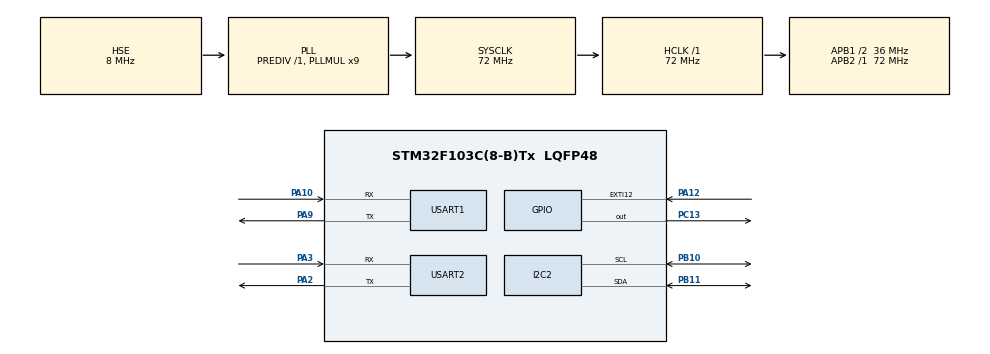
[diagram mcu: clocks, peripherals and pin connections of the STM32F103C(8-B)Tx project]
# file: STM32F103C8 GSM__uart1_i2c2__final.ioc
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Mcu.Family=STM32F1
Mcu.Name=STM32F103C(8-B)Tx
Mcu.Package=LQFP48
NVIC.EXTI15_10_IRQn=true\:0\:0\:false\:false\:true\:true\:true
NVIC.PriorityGroup=NVIC_PRIORITYGROUP_4
PA10.Mode=Asynchronous
PA10.Signal=USART1_RX
PA12.GPIO_PuPd=GPIO_NOPULL
PA12.Signal=GPXTI12
PA13.Mode=Serial_Wire
PA13.Signal=SYS_JTMS-SWDIO
PA14.Mode=Serial_Wire
PA14.Signal=SYS_JTCK-SWCLK
PA2.Mode=Asynchronous
PA2.Signal=USART2_TX
PA3.Mode=Asynchronous
PA3.Signal=USART2_RX
PA9.Mode=Asynchronous
PA9.Signal=USART1_TX
PB10.GPIO_Pu=GPIO_PULLUP
PB10.Mode=I2C
PB10.Signal=I2C2_SCL
PB11.GPIO_Pu=GPIO_PULLUP
PB11.Mode=I2C
PB11.Signal=I2C2_SDA
PC13-TAMPER-RTC.GPIO_PuPd=GPIO_PULLDOWN
PC13-TAMPER-RTC.Signal=GPIO_Output
PD0-OSC_IN.Mode=HSE-External-Oscillator
PD0-OSC_IN.Signal=RCC_OSC_IN
PD1-OSC_OUT.Mode=HSE-External-Oscillator
PD1-OSC_OUT.Signal=RCC_OSC_OUT
ProjectManager.HeapSize=0x200
ProjectManager.StackSize=0x400
ProjectManager.TargetToolchain=STM32CubeIDE
RCC.AHBFreq_Value=72000000
RCC.APB1CLKDivider=RCC_HCLK_DIV2
RCC.APB1Freq_Value=36000000
RCC.APB1TimFreq_Value=72000000
RCC.APB2Freq_Value=72000000
RCC.APB2TimFreq_Value=72000000
RCC.HCLKFreq_Value=72000000
RCC.PLLMUL=RCC_PLL_MUL9
RCC.PLLSourceVirtual=RCC_PLLSOURCE_HSE
RCC.SYSCLKFreq_VALUE=72000000
RCC.SYSCLKSource=RCC_SYSCLKSOURCE_PLLCLK
RCC.USBFreq_Value=72000000
USART1.VirtualMode=VM_ASYNC
USART2.VirtualMode=VM_ASYNC
VP_CRC_VS_CRC.Mode=CRC_Activate
board=custom

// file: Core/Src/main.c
/* USER CODE BEGIN Header */
/**
 ******************************************************************************
 * @file           : main.c
 * @brief          : Main program body
 ******************************************************************************
 * @attention
 *
 * <h2><center>&copy; Copyright (c) 2022 STMicroelectronics.
 * All rights reserved.</center></h2>
 *
 * This software component is licensed by ST under BSD 3-Clause license,
 * the "License"; You may not use this file except in compliance with the
 * License. You may obtain a copy of the License at:
 *                        opensource.org/licenses/BSD-3-Clause
 *
 ******************************************************************************
 */
/* USER CODE END Header */
#include "main.h"

uint8_t INTflag=0;

CRC_HandleTypeDef hcrc;

I2C_HandleTypeDef hi2c2;

UART_HandleTypeDef huart1;
UART_HandleTypeDef huart2;

void SystemClock_Config(void);
static void MX_GPIO_Init(void);
static void MX_CRC_Init(void);
static void MX_I2C2_Init(void);
static void MX_USART1_UART_Init(void);
static void MX_USART2_UART_Init(void);

int main(void)
{

	/* MCU Configuration--------------------------------------------------------*/

	/* Reset of all peripherals, Initializes the Flash interface and the Systick. */

	HAL_Init();

	/* Configure the system clock */
	SystemClock_Config();

	/* Initialize all configured peripherals */
	MX_GPIO_Init();
	MX_CRC_Init();
	MX_I2C2_Init();
	MX_USART1_UART_Init();
	MX_USART2_UART_Init();
	/* USER CODE BEGIN 2 */
	uint8_t data_packet[1031]={0};
	uint8_t data_array[1024]={0};
	uint32_t CRC_Value;
	uint8_t cmd_packet [6]={0};
	/* search file at server */

	uint32_t file_size;

	GSM_Get_File_From_Server();

	file_size= GSM_GET_FILE_SIZE();

	GSM_TO_STM_TO_EEPROM_FILE_SEND( file_size);

	/* transmitting the first packet (command Packet)*/

	cmd_packet[0]=5;
	cmd_packet[1]=0x31;
	for (uint32_t i=0;i<2;i++)
	{
		uint32_t i_data=cmd_packet[i];
		CRC_Value=HAL_CRC_Accumulate(&hcrc, &i_data, 1);

	}

	//first_packet=first_packet+2;
	uint8_t *ptr=cmd_packet;
	ptr+=2;
	*((uint32_t *)ptr) = CRC_Value;

	while(INTflag!=1)
	{

	}

	HAL_Delay(2000);
	HAL_UART_Transmit(&huart2, cmd_packet, sizeof(cmd_packet), HAL_MAX_DELAY);

	/* getting the data from the EEPROM and sending it to the other STM32*/

	uint8_t temp=ceil(file_size/1024.0);
	for(int counter=0;counter<temp;counter++)
	{
		for(int counter_1=0;counter_1<16;counter_1++)
		{

			HAL_I2C_Mem_Read(&hi2c2, 0XA0, 64*counter_1+counter*1024, 2, &data_array[64*counter_1], 64, 1000);
			HAL_Delay(10);
		}

		/* constructing the data packet to send it using UART2*/
		/* c means we send data array of 1024 */
		data_packet [0]='c';
		/* adjusting the flag*/
		if(counter==temp-1)
		{
			data_packet[1025]=1;
			for(uint16_t count=file_size-counter*1024;count<1024;count++)
			{
				data_array[count]=0xFF;
			}
		}
		else
		{
			data_packet[1025]=0;
		}
		/*getting the data array into the data packet*/
		for(int i=1;i<1025;i++)
		{
			data_packet[i]=data_array[i-1];
		}

		/* constructing the CRC */
		CRC_Value=0;
		for (uint32_t i=0;i<1026;i++)
		{
			uint32_t i_data=data_packet[i];
			CRC_Value=HAL_CRC_Accumulate(&hcrc, &i_data, 1);

		}

		//first_packet=first_packet+2;
		ptr=data_packet;
		ptr+=1026;
		*((uint32_t *)ptr)=CRC_Value;

		while(INTflag!=counter+2)
		{

		}

		HAL_Delay(200);
		HAL_UART_Transmit(&huart2, data_packet, sizeof(data_packet), HAL_MAX_DELAY);
		HAL_Delay(10);
	}

	/* USER CODE END 2 */

	/* Infinite loop */
	while (1)
	{

	}

}
void HAL_GPIO_EXTI_Callback(uint16_t GPIO_Pin)
{
	if(GPIO_Pin==GPIO_PIN_12)
	{
		INTflag++;
	}
}

void GSM_Get_File_From_Server()
{
	uint8_t cmd[70];
	sprintf(cmd,"AT+SAPBR=3,1,\"CONTYPE\",\"GPRS\"\n");
	HAL_UART_Transmit(&huart1,cmd, strlen(cmd), HAL_MAX_DELAY);
	HAL_Delay(200);
	sprintf(cmd,"AT+SAPBR=3,1,\"APN\",\"etisalat\"\n");
	HAL_UART_Transmit(&huart1,cmd, strlen(cmd), HAL_MAX_DELAY);
	HAL_Delay(200);
	sprintf(cmd,"AT+SAPBR=1,1\n");
	HAL_UART_Transmit(&huart1,cmd, strlen(cmd), HAL_MAX_DELAY);
	HAL_Delay(2000);
	sprintf(cmd,"AT+FTPSERV=\"199.102.48.28\"\n");
	HAL_UART_Transmit(&huart1,cmd, strlen(cmd), HAL_MAX_DELAY);
	HAL_Delay(2000);
	sprintf(cmd,"AT+FTPPORT=\"21\"\n");
	HAL_UART_Transmit(&huart1,cmd, strlen(cmd), HAL_MAX_DELAY);
	HAL_Delay(200);
	sprintf(cmd,"AT+FTPUN=\"fota22\"\n");
	HAL_UART_Transmit(&huart1,cmd, strlen(cmd), HAL_MAX_DELAY);
	HAL_Delay(200);
	sprintf(cmd,"AT+FTPPW=\"FOTA123456\"\n");
	HAL_UART_Transmit(&huart1,cmd, strlen(cmd), HAL_MAX_DELAY);
	/* name file */HAL_Delay(200);
	sprintf(cmd,"AT+FTPGETNAME=\"ss.bin\"\n");
	HAL_UART_Transmit(&huart1,cmd, strlen(cmd), HAL_MAX_DELAY);
	HAL_Delay(200);
	sprintf(cmd,"AT+FTPGETPATH=\"/\"\n");
	HAL_UART_Transmit(&huart1,cmd, strlen(cmd), HAL_MAX_DELAY);
	HAL_Delay(200);

	/* save file in GSM with name "file3.txt"*/
	sprintf(cmd,"AT+FTPGETTOFS=0,\"final.bin\"\n");
	HAL_UART_Transmit(&huart1,cmd, strlen(cmd), HAL_MAX_DELAY);
	HAL_Delay(40000);
	/*
	sprintf(cmd,"AT+SAPBR=0,1\n");
	HAL_UART_Transmit(&huart1,cmd, strlen(cmd), HAL_MAX_DELAY);
	HAL_Delay(200);
	 */
}
int GSM_GET_FILE_SIZE()
{
	/* this function use AT command of GSM to get the size of file */

	int file_size=0;

	char cmd[70];
	char cmd_rx[70];
	/* AT command to get file size */
	sprintf(cmd,"AT+FSFLSIZE=C:\\User\\FTP\\final.bin\n");
	HAL_UART_Transmit(&huart1,cmd, strlen(cmd), HAL_MAX_DELAY);
	/* Receiving the output of gsm to get the size of the file */
	HAL_UART_Receive(&huart1, cmd_rx, 70, 1000);
	/* define this counter to know the length of the file in digits */
	char counter_len=0;
	/* This loop is for counting the length and construct the array of the file size*/
	for (int i =47 ;i<70;i++)
	{
		counter_len++;
		cmd_rx[i-47]=cmd_rx[i];
		if(cmd_rx[i]=='\r')
		{
			cmd_rx[i]='\0';
			break;
		}

	}
	/* set the rest of the array to null to convert to it later into integer vlaue*/
	for (int i =counter_len;i<70;i++)
	{
		cmd_rx[i]='\0';
	}

	/* convert sting to char */
	file_size=atoi(cmd_rx);
	return file_size;
}
void GSM_TO_STM_TO_EEPROM_FILE_SEND(int file_size)
{

	int counter =0;

	for (int i=0;i<ceil((file_size/1024.0));i++)
	{
		/* this array just to save AT command */
		char cmd[70]={0};

		/* this array to save 1k byte of file data*/
		/*why we initialization here not above loop to make all elements zeros */
		/* at the begging of every iteration */
		char RX_arr[1070]={0};
		sprintf(cmd,"AT+FSREAD=C:\\User\\FTP\\file1.bin,1,1024,%d\n",i*1024);
		HAL_UART_Transmit(&huart1,cmd, strlen(cmd), HAL_MAX_DELAY);
		if(i==0)
		{
			HAL_UART_Receive(&huart1, RX_arr, 1070, 1000);
		}
		/* check RX_arr index 50 if it equal '\0' or not */
		/* from that we can know is file is received or not */
		/*we choose index 50 dependent on debug */

		while (RX_arr[50]=='\0')
		{
			HAL_UART_Receive(&huart1, RX_arr, 1070, 1000);
		}
		counter=0;

		/* to count how many element useless in RX_arr */
		for (int k =0;k<1070;k++)
		{
			counter++;
			if((RX_arr[k]=='\r')&&(RX_arr[k+1]=='\n'))
			{
				break;
			}

		}

		/* to adjust RX_arr and remove all external byte coming just from GSM */
		/* doesnot belong to file data */
		for (int l =0;l<1024;l++)
		{
			RX_arr[l]=RX_arr[counter+1+l];

		}

		/* this part for the last iteration in file */
		/* because the reminder of file not equal 1024 byte we do that  */

		if(i==file_size/1024)
		{
			/* to save element by element in RX_arr to send it */
			/*byte by byte */
			//char retr[2];
			/*last iteration */

			/*
			for (int j=0;j<file_size-i*1024;j++)
			{
				retr[0]=RX_arr[j];
				HAL_UART_Transmit(&huart1,retr, 1, 1000);
				HAL_Delay(1);
			}
			 */
			uint16_t Reminder=file_size-i*1024;

			for(int counter_1=0;counter_1<ceil(Reminder/64.0);counter_1++)
			{
				if(counter_1==ceil(Reminder/64.0)-1)
				{
					HAL_I2C_Mem_Write(&hi2c2, 0XA0, 64*counter_1+1024*i, 2, &RX_arr[64*counter_1], Reminder%64, 1000);
					HAL_Delay(10);
					break;
				}
				HAL_I2C_Mem_Write(&hi2c2, 0XA0, 64*counter_1+1024*i, 2, &RX_arr[64*counter_1], 64, 1000);
				HAL_Delay(10);
			}
			break;

		}

		/* send1k to eeprom */
		/* i2c will be used insted of usart  */
		//HAL_UART_Transmit(&huart1,RX_arr,1024, HAL_MAX_DELAY);

		/*  HAL_I2C_Mem_Write(I2C_HandleTypeDef *hi2c, uint16_t DevAddress, uint16_t MemAddress,
		 uint16_t MemAddSize, uint8_t *pData, uint16_t Size, uint32_t Timeout);
		 */
		for(int counter_1=0;counter_1<16;counter_1++)
		{

			HAL_I2C_Mem_Write(&hi2c2, 0XA0, 64*counter_1+1024*i, 2, &RX_arr[64*counter_1], 64, 1000);
			HAL_Delay(10);
		}

	}
}
void SystemClock_Config(void)
{
	RCC_OscInitTypeDef RCC_OscInitStruct = {0};
	RCC_ClkInitTypeDef RCC_ClkInitStruct = {0};

	/** Initializes the RCC Oscillators according to the specified parameters
	 * in the RCC_OscInitTypeDef structure.
	 */
	RCC_OscInitStruct.OscillatorType = RCC_OSCILLATORTYPE_HSE;
	RCC_OscInitStruct.HSEState = RCC_HSE_ON;
	RCC_OscInitStruct.HSEPredivValue = RCC_HSE_PREDIV_DIV1;
	RCC_OscInitStruct.HSIState = RCC_HSI_ON;
	RCC_OscInitStruct.PLL.PLLState = RCC_PLL_ON;
	RCC_OscInitStruct.PLL.PLLSource = RCC_PLLSOURCE_HSE;
	RCC_OscInitStruct.PLL.PLLMUL = RCC_PLL_MUL9;
	if (HAL_RCC_OscConfig(&RCC_OscInitStruct) != HAL_OK)
	{
		Error_Handler();
	}
	/** Initializes the CPU, AHB and APB buses clocks
	 */
	RCC_ClkInitStruct.ClockType = RCC_CLOCKTYPE_HCLK|RCC_CLOCKTYPE_SYSCLK
			|RCC_CLOCKTYPE_PCLK1|RCC_CLOCKTYPE_PCLK2;
	RCC_ClkInitStruct.SYSCLKSource = RCC_SYSCLKSOURCE_PLLCLK;
	RCC_ClkInitStruct.AHBCLKDivider = RCC_SYSCLK_DIV1;
	RCC_ClkInitStruct.APB1CLKDivider = RCC_HCLK_DIV2;
	RCC_ClkInitStruct.APB2CLKDivider = RCC_HCLK_DIV1;

	if (HAL_RCC_ClockConfig(&RCC_ClkInitStruct, FLASH_LATENCY_2) != HAL_OK)
	{
		Error_Handler();
	}
}

static void MX_CRC_Init(void)
{

	hcrc.Instance = CRC;
	if (HAL_CRC_Init(&hcrc) != HAL_OK)
	{
		Error_Handler();
	}

}

static void MX_I2C2_Init(void)
{

	hi2c2.Instance = I2C2;
	hi2c2.Init.ClockSpeed = 100000;
	hi2c2.Init.DutyCycle = I2C_DUTYCYCLE_2;
	hi2c2.Init.OwnAddress1 = 0;
	hi2c2.Init.AddressingMode = I2C_ADDRESSINGMODE_7BIT;
	hi2c2.Init.DualAddressMode = I2C_DUALADDRESS_DISABLE;
	hi2c2.Init.OwnAddress2 = 0;
	hi2c2.Init.GeneralCallMode = I2C_GENERALCALL_DISABLE;
	hi2c2.Init.NoStretchMode = I2C_NOSTRETCH_DISABLE;
	if (HAL_I2C_Init(&hi2c2) != HAL_OK)
	{
		Error_Handler();
	}

}

static void MX_USART1_UART_Init(void)
{

	huart1.Instance = USART1;
	huart1.Init.BaudRate = 115200;
	huart1.Init.WordLength = UART_WORDLENGTH_8B;
	huart1.Init.StopBits = UART_STOPBITS_1;
	huart1.Init.Parity = UART_PARITY_NONE;
	huart1.Init.Mode = UART_MODE_TX_RX;
	huart1.Init.HwFlowCtl = UART_HWCONTROL_NONE;
	huart1.Init.OverSampling = UART_OVERSAMPLING_16;
	if (HAL_UART_Init(&huart1) != HAL_OK)
	{
		Error_Handler();
	}

}

static void MX_USART2_UART_Init(void)
{

	huart2.Instance = USART2;
	huart2.Init.BaudRate = 115200;
	huart2.Init.WordLength = UART_WORDLENGTH_8B;
	huart2.Init.StopBits = UART_STOPBITS_1;
	huart2.Init.Parity = UART_PARITY_NONE;
	huart2.Init.Mode = UART_MODE_TX_RX;
	huart2.Init.HwFlowCtl = UART_HWCONTROL_NONE;
	huart2.Init.OverSampling = UART_OVERSAMPLING_16;
	if (HAL_UART_Init(&huart2) != HAL_OK)
	{
		Error_Handler();
	}

}

static void MX_GPIO_Init(void)
{
	GPIO_InitTypeDef GPIO_InitStruct = {0};

	/* GPIO Ports Clock Enable */
	__HAL_RCC_GPIOC_CLK_ENABLE();
	__HAL_RCC_GPIOD_CLK_ENABLE();
	__HAL_RCC_GPIOA_CLK_ENABLE();
	__HAL_RCC_GPIOB_CLK_ENABLE();

	/*Configure GPIO pin Output Level */
	HAL_GPIO_WritePin(GPIOC, GPIO_PIN_13, GPIO_PIN_RESET);

	/*Configure GPIO pin : PC13 */
	GPIO_InitStruct.Pin = GPIO_PIN_13;
	GPIO_InitStruct.Mode = GPIO_MODE_OUTPUT_PP;
	GPIO_InitStruct.Pull = GPIO_PULLDOWN;
	GPIO_InitStruct.Speed = GPIO_SPEED_FREQ_LOW;
	HAL_GPIO_Init(GPIOC, &GPIO_InitStruct);

	/*Configure GPIO pin : PA12 */
	GPIO_InitStruct.Pin = GPIO_PIN_12;
	GPIO_InitStruct.Mode = GPIO_MODE_IT_RISING;
	GPIO_InitStruct.Pull = GPIO_NOPULL;
	HAL_GPIO_Init(GPIOA, &GPIO_InitStruct);

	/* EXTI interrupt init*/
	HAL_NVIC_SetPriority(EXTI15_10_IRQn, 0, 0);
	HAL_NVIC_EnableIRQ(EXTI15_10_IRQn);

}

void Error_Handler(void)
{
	__disable_irq();
	while (1)
	{
	}
}
